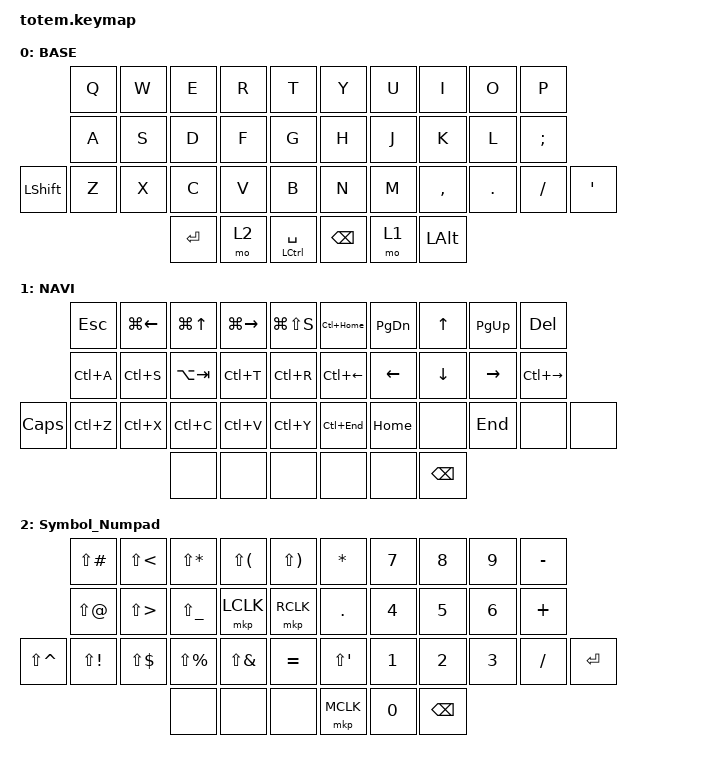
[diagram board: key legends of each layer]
//
//                                                        ▀▀▀▀▀     ▀▀▀▀▀          ▀▀█▀▀
//                                                        ▄▀▀▀▄  ▄  ▄▀▀▀▄  ▄  ▄▀▀▀▄  █  ▄▀▀▀▄
//                                                        █   █  █  █   █  █  █   █  █  █   █
//                                                         ▀▀▀   █   ▀▀▀   █   ▀▀▀   ▀   ▀▀▀
//                                                               █      ▄▄▄█▄▄▄    █   █  
//                                                               ▀      █  █  █     █▄█
//                                                             ▀▀▀▀▀    █  █  █      ▀
//                                                                      ▀  ▀  ▀
//
// ▄▄▄▄▄▄▄▄▄▄▄▄▄▄▄▄▄▄▄▄▄▄▄▄▄▄▄▄▄▄▄▄▄▄▄▄▄▄▄▄▄▄▄▄▄▄▄▄▄▄▄▄▄▄▄▄▄▄▄▄▄▄▄▄▄▄▄▄▄▄▄▄▄▄▄▄▄▄▄▄▄▄▄▄▄▄▄▄▄▄▄▄▄▄▄▄▄▄▄▄▄▄▄▄▄▄▄▄▄▄▄▄▄▄▄▄▄▄▄▄▄▄▄▄▄▄▄▄▄▄▄▄▄▄▄▄▄▄▄▄▄▄▄▄▄▄▄▄▄

#include <behaviors.dtsi>
#include <dt-bindings/zmk/keys.h>
#include <dt-bindings/zmk/pointing.h>

#define BASE 0
#define NAV  1
#define SYM  2
#define ADJ  3

&mt {
    quick-tap-ms = <100>;
    global-quick-tap;
    flavor = "tap-preferred";
    tapping-term-ms = <170>;
};

/ {
    combos {
        compatible = "zmk,combos";

        combo_esc {
            timeout-ms = <50>;
            key-positions = <0 1>;
            bindings = <&kp ESC>;
        };
    };

    macros {
        gif: gif {
            label = "giphy";
            compatible = "zmk,behavior-macro";
            #binding-cells = <0>;
            bindings =
                <&macro_press>,
                <&kp LSHFT>,
                <&macro_tap>,
                <&kp N2>,
                <&macro_release>,
                <&kp LSHFT>,
                <&macro_tap>,
                <&kp G &kp I &kp F>;
        };
    };

    keymap {
        compatible = "zmk,keymap";

        // ▄▄▄▄▄▄▄▄▄▄▄▄▄▄▄▄▄▄▄▄▄▄▄▄▄▄▄▄▄▄▄▄▄▄▄▄▄▄▄▄▄▄▄▄▄▄▄▄▄▄▄▄▄▄▄▄▄▄▄▄▄▄▄▄▄▄▄▄▄▄▄▄▄▄▄▄▄▄▄▄▄▄▄▄▄▄▄▄▄▄▄▄▄▄▄▄▄▄▄▄▄▄▄▄▄▄▄▄▄▄▄▄▄▄▄▄▄▄▄▄▄▄▄▄▄▄▄▄▄▄▄▄▄▄▄▄▄▄▄▄▄▄▄▄▄▄▄▄▄

        base_layer {
            // ┏━━━━━━━━━━━━━━━━━━━━━━━━━━━━━━━━━━━━━━━┓

            label = "BASE";

            // ┗━━━━━━━━━━━━━━━━━━━━━━━━━━━━━━━━━━━━━━━┛
            //             ┏━━━━━━━━━━━┳━━━━━━━━━━━┳━━━━━━━━━━━┳━━━━━━━━━━━┳━━━━━━━━━━━┓   ┏━━━━━━━━━━━┳━━━━━━━━━━━┳━━━━━━━━━━━┳━━━━━━━━━━━┳━━━━━━━━━━━┓
            //             ┃     Q     ┃     W     ┃     F     ┃     P     ┃     G     ┃   ┃     J     ┃     L     ┃     U     ┃     Y     ┃     ;     ┃
            //             ┣━━━━━━━━━━━╋━━━━━━━━━━━╋━━━━━━━━━━━╋━━━━━━━━━━━╋━━━━━━━━━━━┫   ┣━━━━━━━━━━━╋━━━━━━━━━━━╋━━━━━━━━━━━╋━━━━━━━━━━━╋━━━━━━━━━━━┫
            //             ┃     A     ┃     R     ┃     S     ┃     T     ┃     D     ┃   ┃     H     ┃     N     ┃     E     ┃     I     ┃     O     ┃
            // ┏━━━━━━━━━━━╋━━━━━━━━━━━╋━━━━━━━━━━━╋━━━━━━━━━━━╋━━━━━━━━━━━╋━━━━━━━━━━━┫   ┣━━━━━━━━━━━╋━━━━━━━━━━━╋━━━━━━━━━━━╋━━━━━━━━━━━╋━━━━━━━━━━━╋━━━━━━━━━━━┓
            // ┃           ┃     Z     ┃     X     ┃     C     ┃     V     ┃     B     ┃   ┃     K     ┃     M     ┃     ,     ┃     .     ┃     /     ┃           ┃
            // ┗━━━━━━━━━━━┻━━━━━━━━━━━┻━━━━━━━━━━━╋━━━━━━━━━━━╋━━━━━━━━━━━╋━━━━━━━━━━━┫   ┣━━━━━━━━━━━╋━━━━━━━━━━━╋━━━━━━━━━━━╋━━━━━━━━━━━┻━━━━━━━━━━━┻━━━━━━━━━━━┛
            //                                     ┃           ┃    TAB    ┃    SPC    ┃   ┃   ENTER   ┃   BSPC    ┃           ┃
            //                                     ┗━━━━━━━━━━━┻━━━━━━━━━━━┻━━━━━━━━━━━┛   ┗━━━━━━━━━━━┻━━━━━━━━━━━┻━━━━━━━━━━━┛

            bindings = <
                &kp Q  &kp W  &kp E       &kp R  &kp T              &kp Y          &kp U  &kp I         &kp O    &kp P
                &kp A  &kp S  &kp D       &kp F  &kp G              &kp H          &kp J  &kp K         &kp L    &kp SEMICOLON
&kp LEFT_SHIFT  &kp Z  &kp X  &kp C       &kp V  &kp B              &kp N          &kp M  &kp COMMA     &kp DOT  &kp SLASH      &kp APOS
                              &kp RETURN  &mo 2  &mt LCTRL SPACE    &kp BACKSPACE  &mo 1  &kp LEFT_ALT
            >;
        };

        // ▄▄▄▄▄▄▄▄▄▄▄▄▄▄▄▄▄▄▄▄▄▄▄▄▄▄▄▄▄▄▄▄▄▄▄▄▄▄▄▄▄▄▄▄▄▄▄▄▄▄▄▄▄▄▄▄▄▄▄▄▄▄▄▄▄▄▄▄▄▄▄▄▄▄▄▄▄▄▄▄▄▄▄▄▄▄▄▄▄▄▄▄▄▄▄▄▄▄▄▄▄▄▄▄▄▄▄▄▄▄▄▄▄▄▄▄▄▄▄▄▄▄▄▄▄▄▄▄▄▄▄▄▄▄▄▄▄▄▄▄▄▄▄▄▄▄▄▄▄

        Shortcuts {
            // ┏━━━━━━━━━━━━━━━━━━━━━━━━━━━━━━━━━━━━━━━┓

            label = "NAVI";

            // ┗━━━━━━━━━━━━━━━━━━━━━━━━━━━━━━━━━━━━━━━┛
            //             ┏━━━━━━━━━━━┳━━━━━━━━━━━┳━━━━━━━━━━━┳━━━━━━━━━━━┳━━━━━━━━━━━┓   ┏━━━━━━━━━━━┳━━━━━━━━━━━┳━━━━━━━━━━━┳━━━━━━━━━━━┳━━━━━━━━━━━┓
            //             ┃           ┃           ┃     UP    ┃           ┃     {     ┃   ┃     }     ┃     7     ┃     8     ┃     9     ┃     +     ┃
            //             ┣━━━━━━━━━━━╋━━━━━━━━━━━╋━━━━━━━━━━━╋━━━━━━━━━━━╋━━━━━━━━━━━┫   ┣━━━━━━━━━━━╋━━━━━━━━━━━╋━━━━━━━━━━━╋━━━━━━━━━━━╋━━━━━━━━━━━┫
            //             ┃   SHIFT   ┃   LEFT    ┃    DOWN   ┃   RIGHT   ┃     [     ┃   ┃     ]     ┃     4     ┃     5     ┃     6     ┃     -     ┃
            // ┏━━━━━━━━━━━╋━━━━━━━━━━━╋━━━━━━━━━━━╋━━━━━━━━━━━╋━━━━━━━━━━━╋━━━━━━━━━━━┫   ┣━━━━━━━━━━━╋━━━━━━━━━━━╋━━━━━━━━━━━╋━━━━━━━━━━━╋━━━━━━━━━━━╋━━━━━━━━━━━┓
            // ┃           ┃           ┃   P UP    ┃  C LOCK   ┃  P DOWN   ┃     (     ┃   ┃     )     ┃     1     ┃     2     ┃     3     ┃     *     ┃           ┃
            // ┗━━━━━━━━━━━┻━━━━━━━━━━━┻━━━━━━━━━━━╋━━━━━━━━━━━╋━━━━━━━━━━━╋━━━━━━━━━━━┫   ┣━━━━━━━━━━━╋━━━━━━━━━━━╋━━━━━━━━━━━╋━━━━━━━━━━━┻━━━━━━━━━━━┻━━━━━━━━━━━┛
            //                                     ┃           ┃    TAB    ┃    SPC    ┃   ┃    DEL    ┃     0     ┃           ┃
            //                                     ┗━━━━━━━━━━━┻━━━━━━━━━━━┻━━━━━━━━━━━┛   ┗━━━━━━━━━━━┻━━━━━━━━━━━┻━━━━━━━━━━━┛

            bindings = <
          &kp ESC    &kp LG(LEFT_ARROW)  &kp LG(UP_ARROW)  &kp LG(RIGHT_ARROW)  &kp LG(LS(S))    &kp LC(HOME)        &kp PAGE_DOWN   &kp UP_ARROW    &kp PAGE_UP      &kp DELETE
          &kp LC(A)  &kp LC(S)           &kp LA(TAB)       &kp LC(T)            &kp LC(R)        &kp LC(LEFT_ARROW)  &kp LEFT_ARROW  &kp DOWN_ARROW  &kp RIGHT_ARROW  &kp LC(RIGHT_ARROW)
&kp CAPS  &kp LC(Z)  &kp LC(X)           &kp LC(C)         &kp LC(V)            &kp LC(Y)        &kp LC(END)         &kp HOME        &none           &kp END          &none                &none
                                         &none             &none                &none            &none               &none           &kp BACKSPACE
            >;
        };

        // ▄▄▄▄▄▄▄▄▄▄▄▄▄▄▄▄▄▄▄▄▄▄▄▄▄▄▄▄▄▄▄▄▄▄▄▄▄▄▄▄▄▄▄▄▄▄▄▄▄▄▄▄▄▄▄▄▄▄▄▄▄▄▄▄▄▄▄▄▄▄▄▄▄▄▄▄▄▄▄▄▄▄▄▄▄▄▄▄▄▄▄▄▄▄▄▄▄▄▄▄▄▄▄▄▄▄▄▄▄▄▄▄▄▄▄▄▄▄▄▄▄▄▄▄▄▄▄▄▄▄▄▄▄▄▄▄▄▄▄▄▄▄▄▄▄▄▄▄▄
        // ▄▄▄▄▄▄▄▄▄▄▄▄▄▄▄▄▄▄▄▄▄▄▄▄▄▄▄▄▄▄▄▄▄▄▄▄▄▄▄▄▄▄▄▄▄▄▄▄▄▄▄▄▄▄▄▄▄▄▄▄▄▄▄▄▄▄▄▄▄▄▄▄▄▄▄▄▄▄▄▄▄▄▄▄▄▄▄▄▄▄▄▄▄▄▄▄▄▄▄▄▄▄▄▄▄▄▄▄▄▄▄▄▄▄▄▄▄▄▄▄▄▄▄▄▄▄▄▄▄▄▄▄▄▄▄▄▄▄▄▄▄▄▄▄▄▄▄▄▄

        Symbol_Numpad {
            bindings = <
               &kp LS(POUND)  &kp LS(LT)    &kp LS(STAR)   &kp LS(LPAR)  &kp LS(RPAR)    &kp STAR            &kp N7  &kp N8    &kp N9  &kp MINUS
               &kp LS(AT)     &kp LS(GT)    &kp LS(UNDER)  &mkp LCLK     &mkp RCLK       &kp PERIOD          &kp N4  &kp N5    &kp N6  &kp PLUS
&kp LS(CARET)  &kp LS(EXCL)   &kp LS(DLLR)  &kp LS(PRCNT)  &kp LS(AMPS)  &kp EQUAL       &kp LS(APOSTROPHE)  &kp N1  &kp N2    &kp N3  &kp SLASH  &kp RET
                                            &none          &none         &none           &mkp MCLK           &kp N0  &kp BSPC
            >;
        };
    };
};
